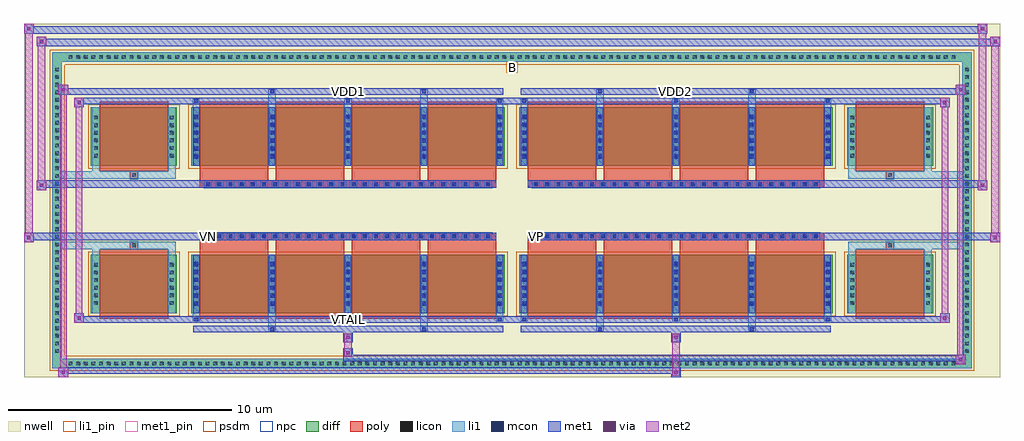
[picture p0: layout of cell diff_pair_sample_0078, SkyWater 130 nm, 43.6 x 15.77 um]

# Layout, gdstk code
import gdstk
lib = gdstk.Library(unit=1e-6, precision=5e-09)
def R(c, l, rs):  # rectangles x0, y0, x1, y1
    for r in rs: c.add(gdstk.rectangle(r[:2], r[2:], *l))
def A(c, l, x, y, w, h, nx, ny, dx, dy):  # array of equal rectangles
    R(c, l, [(x+i*dx, y+j*dy, x+i*dx+w, y+j*dy+h) for i in range(nx) for j in range(ny)])
def P(c, l, *ps):  # polygons
    for p in ps: c.add(gdstk.Polygon(p, *l))
nwell = (64, 20)
diff = (65, 20)
poly = (66, 20)
licon = (66, 44)
li1_pin = (67, 16)
li1 = (67, 20)
mcon = (67, 44)
met1_pin = (68, 16)
met1 = (68, 20)
via = (68, 44)
met2 = (69, 20)
psdm = (94, 20)
npc = (95, 20)

diff_pair_sample_0078 = lib.new_cell('diff_pair_sample_0078')
R(diff_pair_sample_0078, nwell, [(-21.8,-7.45,21.8,8.32), (-19.12,-5.64,-0.01,-0.8), (0.01,-5.64,19.12,-0.8), (-19.12,0.8,-0.01,5.64), (0.01,0.8,19.12,5.64)])
A(diff_pair_sample_0078, diff, -19.925, -7.05, 0.41, 0.41, 117, 2, 0.34, 13.69)
A(diff_pair_sample_0078, diff, -20.53, -6.495, 0.41, 0.41, 1, 38, 0, 0.34)
A(diff_pair_sample_0078, diff, 20.12, -6.495, 0.41, 0.41, 1, 38, 0, 0.34)
R(diff_pair_sample_0078, diff, [(-19.925,-7.05,19.925,-6.64), (-20.53,-6.495,-20.12,6.495), (20.12,-6.495,20.53,6.495), (-18.81,-4.595,-14.97,-1.985), (-14.33,-4.595,-0.32,-1.985), (0.32,-4.595,14.33,-1.985), (14.97,-4.595,18.81,-1.985), (-18.81,1.985,-14.97,4.595), (-14.33,1.985,-0.32,4.595), (0.32,1.985,14.33,4.595), (14.97,1.985,18.81,4.595), (-19.925,6.64,19.925,7.05)])
P(diff_pair_sample_0078, diff, [(20.53,7.05),(-20.53,7.05),(-20.53,-6.64),(-20.12,-6.64),(-20.12,6.64),(20.12,6.64),(20.12,-6.64),(-20.12,-6.64),(-20.53,-6.64),(-20.53,-7.05),(20.53,-7.05)])
A(diff_pair_sample_0078, poly, -13.94, -4.845, 3.06, 3.11, 4, 2, 3.39, 6.58)
A(diff_pair_sample_0078, poly, 0.71, -4.845, 3.06, 3.11, 4, 2, 3.39, 6.58)
A(diff_pair_sample_0078, poly, -13.94, -1.735, 3.06, 0.405, 4, 2, 3.39, 3.065)
A(diff_pair_sample_0078, poly, 0.71, -1.735, 3.06, 0.405, 4, 2, 3.39, 3.065)
A(diff_pair_sample_0078, poly, -13.74, -1.33, 0.33, 0.33, 26, 2, 0.5, 2.33)
A(diff_pair_sample_0078, poly, 0.91, -1.33, 0.33, 0.33, 26, 2, 0.5, 2.33)
R(diff_pair_sample_0078, poly, [(-18.42,-4.845,-15.36,-1.735), (15.36,-4.845,18.42,-1.735), (-17.055,-1.735,-16.725,-1.405), (-17.055,-1.735,-16.725,-1.405), (16.725,-1.735,17.055,-1.405), (16.725,-1.735,17.055,-1.405), (-13.94,-1.33,-0.71,-1), (0.71,-1.33,13.94,-1), (-13.94,1,-0.71,1.33), (0.71,1,13.94,1.33), (-17.055,1.405,-16.725,1.735), (-17.055,1.405,-16.725,1.735), (16.725,1.405,17.055,1.735), (16.725,1.405,17.055,1.735), (-18.42,1.735,-15.36,4.845), (15.36,1.735,18.42,4.845)])
A(diff_pair_sample_0078, licon, -19.805, -6.93, 0.17, 0.17, 117, 2, 0.34, 13.69)
A(diff_pair_sample_0078, licon, -20.41, -6.375, 0.17, 0.17, 1, 38, 0, 0.34)
A(diff_pair_sample_0078, licon, 20.24, -6.375, 0.17, 0.17, 1, 38, 0, 0.34)
A(diff_pair_sample_0078, licon, -18.67, -4.225, 0.17, 0.17, 1, 6, 0, 0.34)
A(diff_pair_sample_0078, licon, -15.28, -4.225, 0.17, 0.17, 1, 6, 0, 0.34)
A(diff_pair_sample_0078, licon, -14.19, -4.225, 0.17, 0.17, 5, 6, 3.39, 0.34)
A(diff_pair_sample_0078, licon, 0.46, -4.225, 0.17, 0.17, 5, 6, 3.39, 0.34)
A(diff_pair_sample_0078, licon, 15.11, -4.225, 0.17, 0.17, 1, 6, 0, 0.34)
A(diff_pair_sample_0078, licon, 18.5, -4.225, 0.17, 0.17, 1, 6, 0, 0.34)
A(diff_pair_sample_0078, licon, -13.66, -1.25, 0.17, 0.17, 26, 2, 0.5, 2.33)
A(diff_pair_sample_0078, licon, 0.99, -1.25, 0.17, 0.17, 26, 2, 0.5, 2.33)
A(diff_pair_sample_0078, licon, -18.67, 2.355, 0.17, 0.17, 1, 6, 0, 0.34)
A(diff_pair_sample_0078, licon, -15.28, 2.355, 0.17, 0.17, 1, 6, 0, 0.34)
A(diff_pair_sample_0078, licon, -14.19, 2.355, 0.17, 0.17, 5, 6, 3.39, 0.34)
A(diff_pair_sample_0078, licon, 0.46, 2.355, 0.17, 0.17, 5, 6, 3.39, 0.34)
A(diff_pair_sample_0078, licon, 15.11, 2.355, 0.17, 0.17, 1, 6, 0, 0.34)
A(diff_pair_sample_0078, licon, 18.5, 2.355, 0.17, 0.17, 1, 6, 0, 0.34)
R(diff_pair_sample_0078, licon, [(-16.975,-1.655,-16.805,-1.485), (16.805,-1.655,16.975,-1.485), (-16.975,1.485,-16.805,1.655), (16.805,1.485,16.975,1.655)])
R(diff_pair_sample_0078, li1_pin, [(-0.25,6.14,0.25,6.64)])
A(diff_pair_sample_0078, li1, -19.885, -7.01, 0.33, 0.33, 117, 2, 0.34, 13.69)
A(diff_pair_sample_0078, li1, -20.49, -6.455, 0.33, 0.33, 1, 38, 0, 0.34)
A(diff_pair_sample_0078, li1, 20.16, -6.455, 0.33, 0.33, 1, 38, 0, 0.34)
A(diff_pair_sample_0078, li1, -14.27, -4.97, 0.33, 0.375, 3, 2, 6.78, 9.565)
A(diff_pair_sample_0078, li1, -14.19, -4.97, 0.17, 0.17, 3, 2, 6.78, 9.77)
A(diff_pair_sample_0078, li1, 0.38, -4.97, 0.33, 0.375, 3, 2, 6.78, 9.565)
A(diff_pair_sample_0078, li1, 0.46, -4.97, 0.17, 0.17, 3, 2, 6.78, 9.77)
A(diff_pair_sample_0078, li1, -14.27, -4.595, 0.33, 2.61, 5, 2, 3.39, 6.58)
A(diff_pair_sample_0078, li1, 0.38, -4.595, 0.33, 2.61, 5, 2, 3.39, 6.58)
A(diff_pair_sample_0078, li1, -18.75, -4.305, 0.33, 0.33, 1, 6, 0, 0.34)
A(diff_pair_sample_0078, li1, -15.36, -4.305, 0.33, 0.33, 1, 6, 0, 0.34)
A(diff_pair_sample_0078, li1, -14.27, -4.305, 0.33, 0.33, 5, 6, 3.39, 0.34)
A(diff_pair_sample_0078, li1, 0.38, -4.305, 0.33, 0.33, 5, 6, 3.39, 0.34)
A(diff_pair_sample_0078, li1, 15.03, -4.305, 0.33, 0.33, 1, 6, 0, 0.34)
A(diff_pair_sample_0078, li1, 18.42, -4.305, 0.33, 0.33, 1, 6, 0, 0.34)
A(diff_pair_sample_0078, li1, -14.19, -4.275, 0.17, 0.17, 5, 6, 3.39, 0.36)
A(diff_pair_sample_0078, li1, -14.19, -4.275, 0.17, 1.97, 5, 2, 3.39, 6.58)
A(diff_pair_sample_0078, li1, 0.46, -4.275, 0.17, 0.17, 5, 6, 3.39, 0.36)
A(diff_pair_sample_0078, li1, 0.46, -4.275, 0.17, 1.97, 5, 2, 3.39, 6.58)
A(diff_pair_sample_0078, li1, -13.74, -1.33, 0.33, 0.33, 26, 2, 0.5, 2.33)
A(diff_pair_sample_0078, li1, 0.91, -1.33, 0.33, 0.33, 26, 2, 0.5, 2.33)
A(diff_pair_sample_0078, li1, -18.75, 2.275, 0.33, 0.33, 1, 6, 0, 0.34)
A(diff_pair_sample_0078, li1, -15.36, 2.275, 0.33, 0.33, 1, 6, 0, 0.34)
A(diff_pair_sample_0078, li1, -14.27, 2.275, 0.33, 0.33, 5, 6, 3.39, 0.34)
A(diff_pair_sample_0078, li1, 0.38, 2.275, 0.33, 0.33, 5, 6, 3.39, 0.34)
A(diff_pair_sample_0078, li1, 15.03, 2.275, 0.33, 0.33, 1, 6, 0, 0.34)
A(diff_pair_sample_0078, li1, 18.42, 2.275, 0.33, 0.33, 1, 6, 0, 0.34)
A(diff_pair_sample_0078, li1, -14.19, 2.305, 0.17, 0.17, 5, 6, 3.39, 0.36)
A(diff_pair_sample_0078, li1, 0.46, 2.305, 0.17, 0.17, 5, 6, 3.39, 0.36)
R(diff_pair_sample_0078, li1, [(-20.53,-7.05,-20.12,-6.64), (-20.53,-7.05,-20.12,-6.64), (-20.12,-7.05,20.12,-6.64), (20.12,-7.05,20.53,-6.64), (20.12,-7.05,20.53,-6.64), (-20.53,-6.64,-20.12,6.64), (20.12,-6.64,20.53,6.64), (-10.88,-5.4,-10.55,-4.595), (-10.8,-5.4,-10.63,-5.23), (-4.1,-5.4,-3.77,-4.595), (-4.02,-5.4,-3.85,-5.23), (3.77,-5.4,4.1,-4.595), (3.85,-5.4,4.02,-5.23), (10.55,-5.4,10.88,-4.595), (10.63,-5.4,10.8,-5.23), (-18.75,-4.595,-18.42,-1.985), (-15.36,-4.595,-15.03,-1.985), (15.03,-4.595,15.36,-1.985), (18.42,-4.595,18.75,-1.985), (-18.75,-1.985,-18.42,-1.405), (-15.36,-1.985,-15.03,-1.405), (15.03,-1.985,15.36,-1.405), (18.42,-1.985,18.75,-1.405), (-20.53,-1.735,-17.055,-1.405), (-18.75,-1.735,-17.055,-1.405), (-17.055,-1.735,-16.725,-1.405), (-16.725,-1.735,-15.03,-1.405), (15.03,-1.735,16.725,-1.405), (16.725,-1.735,17.055,-1.405), (16.725,-1.735,20.53,-1.405), (17.055,-1.735,18.75,-1.405), (-20.53,1.405,-17.055,1.735), (-18.75,1.405,-17.055,1.735), (-18.75,1.405,-18.42,1.985), (-17.055,1.405,-16.725,1.735), (-16.725,1.405,-15.03,1.735), (-15.36,1.405,-15.03,1.985), (15.03,1.405,16.725,1.735), (15.03,1.405,15.36,1.985), (16.725,1.405,17.055,1.735), (16.725,1.405,20.53,1.735), (17.055,1.405,18.75,1.735), (18.42,1.405,18.75,1.985), (-18.75,1.985,-18.42,4.595), (-15.36,1.985,-15.03,4.595), (15.03,1.985,15.36,4.595), (18.42,1.985,18.75,4.595), (-10.88,4.595,-10.55,5.4), (-4.1,4.595,-3.77,5.4), (3.77,4.595,4.1,5.4), (10.55,4.595,10.88,5.4), (-10.8,5.23,-10.63,5.4), (-4.02,5.23,-3.85,5.4), (3.85,5.23,4.02,5.4), (10.63,5.23,10.8,5.4), (-20.53,6.64,-20.12,7.05), (-20.53,6.64,-20.12,7.05), (-20.12,6.64,20.12,7.05), (20.12,6.64,20.53,7.05), (20.12,6.64,20.53,7.05)])
A(diff_pair_sample_0078, mcon, -14.19, -4.97, 0.17, 0.17, 3, 2, 6.78, 9.77)
A(diff_pair_sample_0078, mcon, 0.46, -4.97, 0.17, 0.17, 3, 2, 6.78, 9.77)
A(diff_pair_sample_0078, mcon, -14.19, -4.275, 0.17, 0.17, 5, 6, 3.39, 0.36)
A(diff_pair_sample_0078, mcon, 0.46, -4.275, 0.17, 0.17, 5, 6, 3.39, 0.36)
A(diff_pair_sample_0078, mcon, -13.66, -1.25, 0.17, 0.17, 26, 2, 0.5, 2.33)
A(diff_pair_sample_0078, mcon, 0.99, -1.25, 0.17, 0.17, 26, 2, 0.5, 2.33)
A(diff_pair_sample_0078, mcon, -14.19, 2.305, 0.17, 0.17, 5, 6, 3.39, 0.36)
A(diff_pair_sample_0078, mcon, 0.46, 2.305, 0.17, 0.17, 5, 6, 3.39, 0.36)
R(diff_pair_sample_0078, mcon, [(-10.8,-5.4,-10.63,-5.23), (-4.02,-5.4,-3.85,-5.23), (3.85,-5.4,4.02,-5.23), (10.63,-5.4,10.8,-5.23), (-10.8,5.23,-10.63,5.4), (-4.02,5.23,-3.85,5.4), (3.85,5.23,4.02,5.4), (10.63,5.23,10.8,5.4)])
R(diff_pair_sample_0078, met1_pin, [(-7.46,-5.01,-7.19,-4.74), (-13.71,-1.29,-13.44,-1.02), (0.94,-1.29,1.21,-1.02), (-7.46,5.19,-7.19,5.46), (7.19,5.19,7.46,5.46)])
A(diff_pair_sample_0078, met1, -14.25, -5.03, 0.29, 0.29, 3, 2, 6.78, 9.77)
A(diff_pair_sample_0078, met1, 0.4, -5.03, 0.29, 0.29, 3, 2, 6.78, 9.77)
A(diff_pair_sample_0078, met1, -14.25, -4.595, 0.29, 2.61, 5, 2, 3.39, 6.58)
A(diff_pair_sample_0078, met1, 0.4, -4.595, 0.29, 2.61, 5, 2, 3.39, 6.58)
A(diff_pair_sample_0078, met1, -14.25, -4.335, 0.29, 0.29, 5, 6, 3.39, 0.36)
A(diff_pair_sample_0078, met1, 0.4, -4.335, 0.29, 0.29, 5, 6, 3.39, 0.36)
A(diff_pair_sample_0078, met1, -13.72, -1.31, 0.29, 0.29, 26, 2, 0.5, 2.33)
A(diff_pair_sample_0078, met1, 0.93, -1.31, 0.29, 0.29, 26, 2, 0.5, 2.33)
A(diff_pair_sample_0078, met1, -14.25, 2.245, 0.29, 0.29, 5, 6, 3.39, 0.36)
A(diff_pair_sample_0078, met1, 0.4, 2.245, 0.29, 0.29, 5, 6, 3.39, 0.36)
R(diff_pair_sample_0078, met1, [(-20.26,-7.45,-19.83,-7.02), (7.11,-7.45,7.54,-7.02), (-20.26,-7.31,7.54,-7.02), (19.83,-6.88,20.26,-6.45), (-7.54,-6.74,20.26,-6.45), (-7.54,-6.6,-7.11,-6.17), (-7.54,-5.89,-7.11,-5.46), (7.11,-5.89,7.54,-5.46), (-14.25,-5.46,-0.4,-5.17), (-10.86,-5.46,-10.57,-5.17), (-4.08,-5.46,-3.79,-5.17), (0.4,-5.46,14.25,-5.17), (3.79,-5.46,4.08,-5.17), (10.57,-5.46,10.86,-5.17), (-19.55,-5.03,-19.12,-4.6), (-19.55,-5.03,-14.25,-4.74), (-14.25,-5.03,-0.4,-4.74), (-0.4,-5.03,0.4,-4.74), (0.4,-5.03,14.25,-4.74), (14.25,-5.03,19.55,-4.74), (19.12,-5.03,19.55,-4.6), (-21.8,-1.43,-21.37,-1), (21.37,-1.43,21.8,-1), (-21.8,-1.33,-0.71,-1), (-13.94,-1.33,-0.71,-1), (0.71,-1.33,13.94,-1), (0.71,-1.33,21.8,-1), (-21.23,0.9,-20.8,1.33), (20.8,0.9,21.23,1.33), (-21.23,1,-13.94,1.33), (-13.94,1,-0.71,1.33), (0.71,1,13.94,1.33), (13.94,1,21.23,1.33), (-19.55,4.6,-19.12,5.03), (19.12,4.6,19.55,5.03), (-19.55,4.74,-14.25,5.03), (-14.25,4.74,-0.4,5.03), (-0.4,4.74,0.4,5.03), (0.4,4.74,14.25,5.03), (14.25,4.74,19.55,5.03), (-20.26,5.17,-19.83,5.6), (-20.26,5.17,-14.25,5.46), (-14.25,5.17,-0.4,5.46), (-10.86,5.17,-10.57,5.46), (-4.08,5.17,-3.79,5.46), (0.4,5.17,14.25,5.46), (3.79,5.17,4.08,5.46), (10.57,5.17,10.86,5.46), (14.25,5.17,20.26,5.46), (19.83,5.17,20.26,5.6), (-21.23,7.32,-20.8,7.75), (-21.23,7.32,-19.12,7.65), (-19.12,7.32,19.12,7.65), (19.12,7.32,21.8,7.65), (21.37,7.32,21.8,7.75), (-21.8,7.89,-21.37,8.32), (-21.8,7.89,-19.12,8.22), (-19.12,7.89,19.12,8.22), (19.12,7.89,21.23,8.22), (20.8,7.89,21.23,8.32)])
R(diff_pair_sample_0078, via, [(-20.12,-7.31,-19.97,-7.16), (7.25,-7.31,7.4,-7.16), (19.97,-6.74,20.12,-6.59), (-7.4,-6.46,-7.25,-6.31), (-7.4,-5.75,-7.25,-5.6), (7.25,-5.75,7.4,-5.6), (-19.41,-4.89,-19.26,-4.74), (19.26,-4.89,19.41,-4.74), (-21.66,-1.29,-21.51,-1.14), (21.51,-1.29,21.66,-1.14), (-21.09,1.04,-20.94,1.19), (20.94,1.04,21.09,1.19), (-19.41,4.74,-19.26,4.89), (19.26,4.74,19.41,4.89), (-20.12,5.31,-19.97,5.46), (19.97,5.31,20.12,5.46), (-21.09,7.46,-20.94,7.61), (21.51,7.46,21.66,7.61), (-21.66,8.03,-21.51,8.18), (20.94,8.03,21.09,8.18)])
R(diff_pair_sample_0078, met2, [(-20.26,-7.45,-19.83,-7.02), (-20.19,-7.45,-19.9,5.6), (-19.9,-7.45,-19.83,-7.02), (-20.21,-7.4,-19.88,-7.07), (7.16,-7.4,7.49,-7.07), (7.16,-7.07,7.49,-5.84), (19.83,-6.88,20.26,-6.45), (19.9,-6.88,20.19,5.6), (20.19,-6.88,20.26,-6.45), (19.88,-6.83,20.21,-6.5), (-7.49,-6.55,-7.16,-6.22), (-7.49,-6.22,-7.16,-5.84), (-7.49,-5.84,-7.16,-5.51), (7.16,-5.84,7.49,-5.51), (-19.55,-5.03,-19.12,-4.6), (-19.48,-5.03,-19.19,5.03), (-19.19,-5.03,-19.12,-4.6), (19.12,-5.03,19.55,-4.6), (19.19,-5.03,19.48,5.03), (19.48,-5.03,19.55,-4.6), (-19.5,-4.98,-19.17,-4.65), (19.17,-4.98,19.5,-4.65), (-21.8,-1.43,-21.37,-1), (-21.75,-1.43,-21.42,8.32), (-21.42,-1.43,-21.37,-1), (21.37,-1.43,21.8,-1), (21.42,-1.43,21.75,7.75), (21.75,-1.43,21.8,-1), (-21.75,-1.38,-21.42,-1.05), (21.42,-1.38,21.75,-1.05), (-21.23,0.9,-20.8,1.33), (-21.18,0.9,-20.85,7.75), (-20.85,0.9,-20.8,1.33), (20.8,0.9,21.23,1.33), (20.85,0.9,21.18,8.32), (21.18,0.9,21.23,1.33), (-21.18,0.95,-20.85,1.28), (20.85,0.95,21.18,1.28), (-19.55,4.6,-19.12,5.03), (-19.19,4.6,-19.12,5.03), (19.12,4.6,19.55,5.03), (19.48,4.6,19.55,5.03), (-19.5,4.65,-19.17,4.98), (19.17,4.65,19.5,4.98), (-20.26,5.17,-19.83,5.6), (-19.9,5.17,-19.83,5.6), (19.83,5.17,20.26,5.6), (20.19,5.17,20.26,5.6), (-20.21,5.22,-19.88,5.55), (19.88,5.22,20.21,5.55), (-21.23,7.32,-20.8,7.75), (-20.85,7.32,-20.8,7.75), (21.37,7.32,21.8,7.75), (21.75,7.32,21.8,7.75), (-21.18,7.37,-20.85,7.7), (21.42,7.37,21.75,7.7), (-21.8,7.89,-21.37,8.32), (-21.42,7.89,-21.37,8.32), (20.8,7.89,21.23,8.32), (21.18,7.89,21.23,8.32), (-21.75,7.94,-21.42,8.27), (20.85,7.94,21.18,8.27)])
R(diff_pair_sample_0078, psdm, [(-18.94,-4.725,-14.84,-1.855), (-14.46,-4.725,-0.19,-1.855), (0.19,-4.725,14.46,-1.855), (14.84,-4.725,18.94,-1.855), (-18.94,1.855,-14.84,4.725), (-14.46,1.855,-0.19,4.725), (0.19,1.855,14.46,4.725), (14.84,1.855,18.94,4.725)])
P(diff_pair_sample_0078, psdm, [(20.66,7.18),(-20.66,7.18),(-20.66,-6.51),(-19.99,-6.51),(-19.99,6.51),(19.99,6.51),(19.99,-6.51),(-19.99,-6.51),(-20.66,-6.51),(-20.66,-7.18),(20.66,-7.18)])
A(diff_pair_sample_0078, npc, -13.76, -1.35, 0.37, 0.37, 26, 2, 0.5, 2.33)
A(diff_pair_sample_0078, npc, 0.89, -1.35, 0.37, 0.37, 26, 2, 0.5, 2.33)
R(diff_pair_sample_0078, npc, [(-17.075,-1.755,-16.705,-1.385), (16.705,-1.755,17.075,-1.385), (-13.76,-1.35,-12.89,-0.98), (-13.76,-1.35,-12.89,-0.98), (-13.26,-1.35,-12.39,-0.98), (-13.26,-1.35,-12.39,-0.98), (-12.76,-1.35,-11.89,-0.98), (-12.76,-1.35,-11.89,-0.98), (-12.26,-1.35,-11.39,-0.98), (-12.26,-1.35,-11.39,-0.98), (-11.76,-1.35,-10.89,-0.98), (-11.76,-1.35,-10.89,-0.98), (-11.26,-1.35,-10.39,-0.98), (-11.26,-1.35,-10.39,-0.98), (-10.76,-1.35,-9.89,-0.98), (-10.76,-1.35,-9.89,-0.98), (-10.26,-1.35,-9.39,-0.98), (-10.26,-1.35,-9.39,-0.98), (-9.76,-1.35,-8.89,-0.98), (-9.76,-1.35,-8.89,-0.98), (-9.26,-1.35,-8.39,-0.98), (-9.26,-1.35,-8.39,-0.98), (-8.76,-1.35,-7.89,-0.98), (-8.76,-1.35,-7.89,-0.98), (-8.26,-1.35,-7.39,-0.98), (-8.26,-1.35,-7.39,-0.98), (-7.76,-1.35,-6.89,-0.98), (-7.76,-1.35,-6.89,-0.98), (-7.26,-1.35,-6.39,-0.98), (-7.26,-1.35,-6.39,-0.98), (-6.76,-1.35,-5.89,-0.98), (-6.76,-1.35,-5.89,-0.98), (-6.26,-1.35,-5.39,-0.98), (-6.26,-1.35,-5.39,-0.98), (-5.76,-1.35,-4.89,-0.98), (-5.76,-1.35,-4.89,-0.98), (-5.26,-1.35,-4.39,-0.98), (-5.26,-1.35,-4.39,-0.98), (-4.76,-1.35,-3.89,-0.98), (-4.76,-1.35,-3.89,-0.98), (-4.26,-1.35,-3.39,-0.98), (-4.26,-1.35,-3.39,-0.98), (-3.76,-1.35,-2.89,-0.98), (-3.76,-1.35,-2.89,-0.98), (-3.26,-1.35,-2.39,-0.98), (-3.26,-1.35,-2.39,-0.98), (-2.76,-1.35,-1.89,-0.98), (-2.76,-1.35,-1.89,-0.98), (-2.26,-1.35,-1.39,-0.98), (-2.26,-1.35,-1.39,-0.98), (-1.76,-1.35,-0.89,-0.98), (-1.76,-1.35,-0.89,-0.98), (0.89,-1.35,1.76,-0.98), (0.89,-1.35,1.76,-0.98), (1.39,-1.35,2.26,-0.98), (1.39,-1.35,2.26,-0.98), (1.89,-1.35,2.76,-0.98), (1.89,-1.35,2.76,-0.98), (2.39,-1.35,3.26,-0.98), (2.39,-1.35,3.26,-0.98), (2.89,-1.35,3.76,-0.98), (2.89,-1.35,3.76,-0.98), (3.39,-1.35,4.26,-0.98), (3.39,-1.35,4.26,-0.98), (3.89,-1.35,4.76,-0.98), (3.89,-1.35,4.76,-0.98), (4.39,-1.35,5.26,-0.98), (4.39,-1.35,5.26,-0.98), (4.89,-1.35,5.76,-0.98), (4.89,-1.35,5.76,-0.98), (5.39,-1.35,6.26,-0.98), (5.39,-1.35,6.26,-0.98), (5.89,-1.35,6.76,-0.98), (5.89,-1.35,6.76,-0.98), (6.39,-1.35,7.26,-0.98), (6.39,-1.35,7.26,-0.98), (6.89,-1.35,7.76,-0.98), (6.89,-1.35,7.76,-0.98), (7.39,-1.35,8.26,-0.98), (7.39,-1.35,8.26,-0.98), (7.89,-1.35,8.76,-0.98), (7.89,-1.35,8.76,-0.98), (8.39,-1.35,9.26,-0.98), (8.39,-1.35,9.26,-0.98), (8.89,-1.35,9.76,-0.98), (8.89,-1.35,9.76,-0.98), (9.39,-1.35,10.26,-0.98), (9.39,-1.35,10.26,-0.98), (9.89,-1.35,10.76,-0.98), (9.89,-1.35,10.76,-0.98), (10.39,-1.35,11.26,-0.98), (10.39,-1.35,11.26,-0.98), (10.89,-1.35,11.76,-0.98), (10.89,-1.35,11.76,-0.98), (11.39,-1.35,12.26,-0.98), (11.39,-1.35,12.26,-0.98), (11.89,-1.35,12.76,-0.98), (11.89,-1.35,12.76,-0.98), (12.39,-1.35,13.26,-0.98), (12.39,-1.35,13.26,-0.98), (12.89,-1.35,13.76,-0.98), (12.89,-1.35,13.76,-0.98), (-13.76,0.98,-12.89,1.35), (-13.76,0.98,-12.89,1.35), (-13.26,0.98,-12.39,1.35), (-13.26,0.98,-12.39,1.35), (-12.76,0.98,-11.89,1.35), (-12.76,0.98,-11.89,1.35), (-12.26,0.98,-11.39,1.35), (-12.26,0.98,-11.39,1.35), (-11.76,0.98,-10.89,1.35), (-11.76,0.98,-10.89,1.35), (-11.26,0.98,-10.39,1.35), (-11.26,0.98,-10.39,1.35), (-10.76,0.98,-9.89,1.35), (-10.76,0.98,-9.89,1.35), (-10.26,0.98,-9.39,1.35), (-10.26,0.98,-9.39,1.35), (-9.76,0.98,-8.89,1.35), (-9.76,0.98,-8.89,1.35), (-9.26,0.98,-8.39,1.35), (-9.26,0.98,-8.39,1.35), (-8.76,0.98,-7.89,1.35), (-8.76,0.98,-7.89,1.35), (-8.26,0.98,-7.39,1.35), (-8.26,0.98,-7.39,1.35), (-7.76,0.98,-6.89,1.35), (-7.76,0.98,-6.89,1.35), (-7.26,0.98,-6.39,1.35), (-7.26,0.98,-6.39,1.35), (-6.76,0.98,-5.89,1.35), (-6.76,0.98,-5.89,1.35), (-6.26,0.98,-5.39,1.35), (-6.26,0.98,-5.39,1.35), (-5.76,0.98,-4.89,1.35), (-5.76,0.98,-4.89,1.35), (-5.26,0.98,-4.39,1.35), (-5.26,0.98,-4.39,1.35), (-4.76,0.98,-3.89,1.35), (-4.76,0.98,-3.89,1.35), (-4.26,0.98,-3.39,1.35), (-4.26,0.98,-3.39,1.35), (-3.76,0.98,-2.89,1.35), (-3.76,0.98,-2.89,1.35), (-3.26,0.98,-2.39,1.35), (-3.26,0.98,-2.39,1.35), (-2.76,0.98,-1.89,1.35), (-2.76,0.98,-1.89,1.35), (-2.26,0.98,-1.39,1.35), (-2.26,0.98,-1.39,1.35), (-1.76,0.98,-0.89,1.35), (-1.76,0.98,-0.89,1.35), (0.89,0.98,1.76,1.35), (0.89,0.98,1.76,1.35), (1.39,0.98,2.26,1.35), (1.39,0.98,2.26,1.35), (1.89,0.98,2.76,1.35), (1.89,0.98,2.76,1.35), (2.39,0.98,3.26,1.35), (2.39,0.98,3.26,1.35), (2.89,0.98,3.76,1.35), (2.89,0.98,3.76,1.35), (3.39,0.98,4.26,1.35), (3.39,0.98,4.26,1.35), (3.89,0.98,4.76,1.35), (3.89,0.98,4.76,1.35), (4.39,0.98,5.26,1.35), (4.39,0.98,5.26,1.35), (4.89,0.98,5.76,1.35), (4.89,0.98,5.76,1.35), (5.39,0.98,6.26,1.35), (5.39,0.98,6.26,1.35), (5.89,0.98,6.76,1.35), (5.89,0.98,6.76,1.35), (6.39,0.98,7.26,1.35), (6.39,0.98,7.26,1.35), (6.89,0.98,7.76,1.35), (6.89,0.98,7.76,1.35), (7.39,0.98,8.26,1.35), (7.39,0.98,8.26,1.35), (7.89,0.98,8.76,1.35), (7.89,0.98,8.76,1.35), (8.39,0.98,9.26,1.35), (8.39,0.98,9.26,1.35), (8.89,0.98,9.76,1.35), (8.89,0.98,9.76,1.35), (9.39,0.98,10.26,1.35), (9.39,0.98,10.26,1.35), (9.89,0.98,10.76,1.35), (9.89,0.98,10.76,1.35), (10.39,0.98,11.26,1.35), (10.39,0.98,11.26,1.35), (10.89,0.98,11.76,1.35), (10.89,0.98,11.76,1.35), (11.39,0.98,12.26,1.35), (11.39,0.98,12.26,1.35), (11.89,0.98,12.76,1.35), (11.89,0.98,12.76,1.35), (12.39,0.98,13.26,1.35), (12.39,0.98,13.26,1.35), (12.89,0.98,13.76,1.35), (12.89,0.98,13.76,1.35), (-17.075,1.385,-16.705,1.755), (16.705,1.385,17.075,1.755)])
diff_pair_sample_0078.add(gdstk.Label('VTAIL', (-7.325,-4.875), layer=68, texttype=5))
diff_pair_sample_0078.add(gdstk.Label('VN', (-13.575,-1.155), layer=68, texttype=5))
diff_pair_sample_0078.add(gdstk.Label('VP', (1.075,-1.155), layer=68, texttype=5))
diff_pair_sample_0078.add(gdstk.Label('B', (0,6.39), layer=67, texttype=5))
diff_pair_sample_0078.add(gdstk.Label('VDD2', (7.325,5.325), layer=68, texttype=5))
diff_pair_sample_0078.add(gdstk.Label('VDD1', (-7.325,5.325), layer=68, texttype=5))

lib.write_gds('diff_pair_sample_0078.gds')
